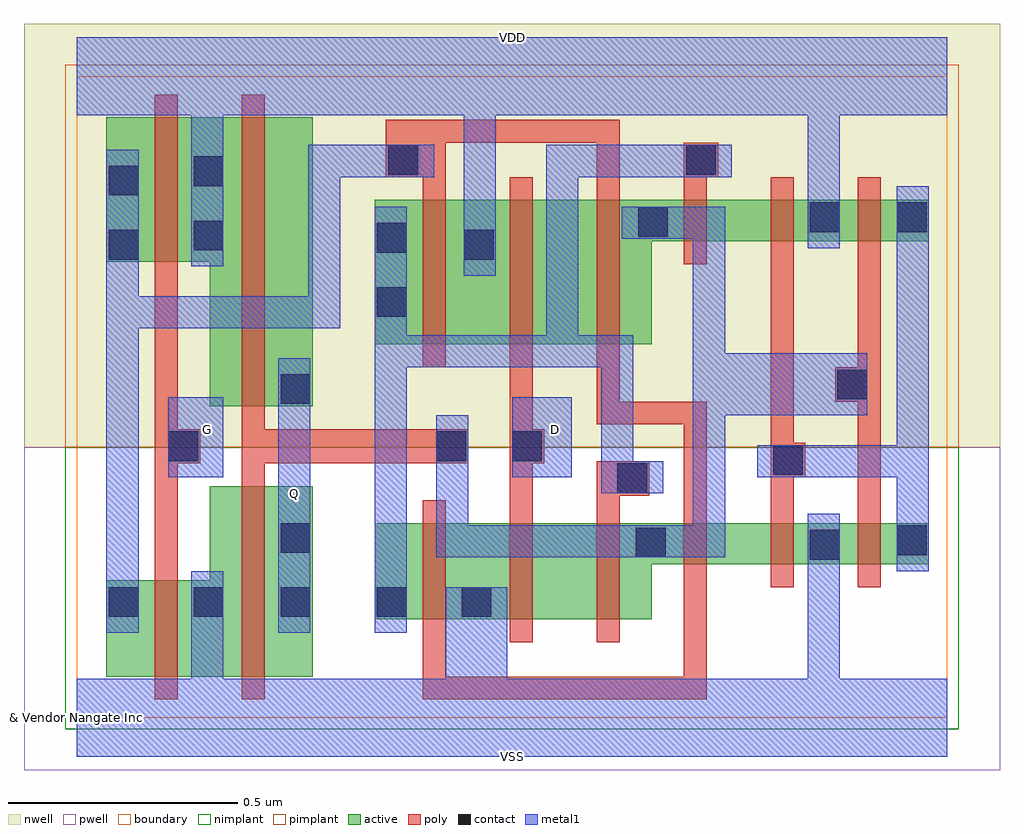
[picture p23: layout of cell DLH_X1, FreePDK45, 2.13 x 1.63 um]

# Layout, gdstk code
import gdstk
lib = gdstk.Library(unit=1e-6, precision=1e-09)
def R(c, l, rs):  # rectangles x0, y0, x1, y1
    for r in rs: c.add(gdstk.rectangle(r[:2], r[2:], *l))
def P(c, l, *ps):  # polygons
    for p in ps: c.add(gdstk.Polygon(p, *l))
active = (1, 0)
pwell = (2, 0)
nwell = (3, 0)
nimplant = (4, 0)
pimplant = (5, 0)
poly = (9, 0)
contact = (10, 0)
metal1 = (11, 0)
boundary = (235, 0)

dlh_x1 = lib.new_cell('DLH_X1')
P(dlh_x1, active, [(0.065,0.09),(0.515,0.09),(0.515,0.505),(0.29,0.505),(0.29,0.3),(0.065,0.3)],
  [(0.065,0.995),(0.29,0.995),(0.29,0.68),(0.515,0.68),(0.515,1.31),(0.065,1.31)],
  [(0.65,0.215),(1.255,0.215),(1.255,0.335),(1.86,0.335),(1.86,0.425),(0.65,0.425)],
  [(0.65,0.815),(1.255,0.815),(1.255,1.04),(1.86,1.04),(1.86,1.13),(0.65,1.13)])
R(dlh_x1, pwell, [(-0.115,-0.115,2.015,0.59)])
R(dlh_x1, nwell, [(-0.115,0.59,2.015,1.515)])
R(dlh_x1, nimplant, [(-0.025,-0.025,1.925,0.59)])
R(dlh_x1, pimplant, [(-0.025,0.59,1.925,1.425)])
P(dlh_x1, poly, [(0.17,0.04),(0.22,0.04),(0.22,0.555),(0.27,0.555),(0.27,0.63),(0.22,0.63),(0.22,1.36),(0.17,1.36)],
  [(0.36,0.04),(0.41,0.04),(0.41,0.555),(0.855,0.555),(0.855,0.63),(0.41,0.63),(0.41,1.36),(0.36,1.36)],
  [(0.945,0.165),(0.995,0.165),(0.995,0.555),(1.02,0.555),(1.02,0.63),(0.995,0.63),(0.995,1.18),(0.945,1.18)],
  [(1.135,0.165),(1.185,0.165),(1.185,0.485),(1.25,0.485),(1.25,0.56),(1.135,0.56)],
  [(0.675,1.18),(0.755,1.18),(0.755,0.765),(0.805,0.765),(0.805,1.255),(1.135,1.255),(1.135,0.64),(1.325,0.64),(1.325,0.09),(0.805,0.09),(0.805,0.475),(0.755,0.475),(0.755,0.04),(1.375,0.04),(1.375,0.69),(1.185,0.69),(1.185,1.305),(0.675,1.305)],
  [(1.325,0.99),(1.375,0.99),(1.375,1.18),(1.4,1.18),(1.4,1.255),(1.325,1.255)],
  [(1.515,0.285),(1.565,0.285),(1.565,0.525),(1.59,0.525),(1.59,0.6),(1.565,0.6),(1.565,1.18),(1.515,1.18)],
  [(1.655,0.69),(1.705,0.69),(1.705,0.285),(1.755,0.285),(1.755,1.18),(1.705,1.18),(1.705,0.765),(1.655,0.765)])
R(dlh_x1, contact, [(0.07,0.22,0.135,0.285), (0.255,0.22,0.32,0.285), (0.445,0.22,0.51,0.285), (0.655,0.22,0.72,0.285), (0.84,0.22,0.905,0.285), (1.6,0.345,1.665,0.41), (1.22,0.35,1.285,0.415), (1.79,0.355,1.855,0.42), (0.445,0.36,0.51,0.425), (1.18,0.49,1.245,0.555), (1.52,0.53,1.585,0.595), (0.2,0.56,0.265,0.625), (0.785,0.56,0.85,0.625), (0.95,0.56,1.015,0.625), (0.445,0.685,0.51,0.75), (1.66,0.695,1.725,0.76), (0.655,0.875,0.72,0.94), (0.07,1,0.135,1.065), (0.845,1,0.91,1.065), (0.655,1.015,0.72,1.08), (0.255,1.02,0.32,1.085), (1.225,1.05,1.29,1.115), (1.6,1.06,1.665,1.125), (1.79,1.06,1.855,1.125), (0.07,1.14,0.135,1.205), (0.255,1.16,0.32,1.225), (0.68,1.185,0.745,1.25), (1.33,1.185,1.395,1.25)])
R(dlh_x1, metal1, [(0.44,0.185,0.51,0.785), (0.2,0.525,0.32,0.7), (0.95,0.525,1.08,0.7)])
P(dlh_x1, metal1, [(0.065,0.185),(0.135,0.185),(0.135,0.85),(0.575,0.85),(0.575,1.18),(0.78,1.18),(0.78,1.25),(0.505,1.25),(0.505,0.92),(0.135,0.92),(0.135,1.24),(0.065,1.24)],
  [(1.095,1.18),(1.43,1.18),(1.43,1.25),(1.025,1.25),(1.025,0.835),(0.72,0.835),(0.72,1.115),(0.65,1.115),(0.65,0.185),(0.72,0.185),(0.72,0.765),(1.145,0.765),(1.145,0.49),(1.28,0.49),(1.28,0.56),(1.215,0.56),(1.215,0.835),(1.095,0.835)],
  [(1.19,1.045),(1.345,1.045),(1.345,0.42),(0.855,0.42),(0.855,0.66),(0.785,0.66),(0.785,0.35),(1.415,0.35),(1.415,0.66),(1.725,0.66),(1.725,0.795),(1.415,0.795),(1.415,1.115),(1.19,1.115)],
  [(1.485,0.525),(1.79,0.525),(1.79,0.32),(1.86,0.32),(1.86,1.16),(1.79,1.16),(1.79,0.595),(1.485,0.595)],
  [(0,-0.085),(1.9,-0.085),(1.9,0.085),(1.665,0.085),(1.665,0.445),(1.595,0.445),(1.595,0.085),(0.94,0.085),(0.94,0.285),(0.805,0.285),(0.805,0.085),(0.32,0.085),(0.32,0.32),(0.25,0.32),(0.25,0.085),(0,0.085)],
  [(0,1.315),(0.25,1.315),(0.25,0.985),(0.32,0.985),(0.32,1.315),(0.845,1.315),(0.845,0.965),(0.915,0.965),(0.915,1.315),(1.595,1.315),(1.595,1.025),(1.665,1.025),(1.665,1.315),(1.9,1.315),(1.9,1.485),(0,1.485)])
R(dlh_x1, boundary, [(0,0,1.9,1.4)])
dlh_x1.add(gdstk.Label('D', (1.045,0.63), layer=11, texttype=0))
dlh_x1.add(gdstk.Label('G', (0.285,0.63), layer=11, texttype=0))
dlh_x1.add(gdstk.Label('Q', (0.475,0.49), layer=11, texttype=0))
dlh_x1.add(gdstk.Label('VDD', (0.95,1.485), layer=11, texttype=0))
dlh_x1.add(gdstk.Label('VSS', (0.95,-0.085), layer=11, texttype=0))
dlh_x1.add(gdstk.Label('& Vendor Nangate Inc', (0,0), layer=63, texttype=63))
dlh_x1.add(gdstk.Label('& Product Open Cell Library', (0,0), layer=63, texttype=63))
dlh_x1.add(gdstk.Label('& Version 2010_12', (0,0), layer=63, texttype=63))
dlh_x1.add(gdstk.Label('& Instance DLH_X1', (0,0), layer=63, texttype=63))

lib.write_gds('DLH_X1.gds')
